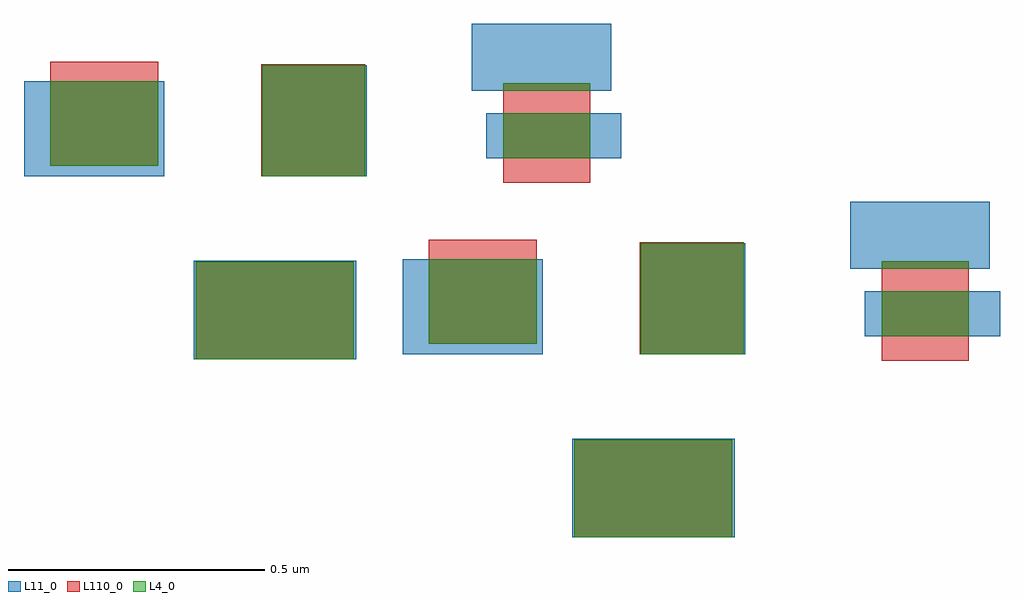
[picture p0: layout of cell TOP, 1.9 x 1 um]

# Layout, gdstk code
import gdstk
lib = gdstk.Library(unit=1e-6, precision=1e-09)
def R(c, l, rs):  # rectangles x0, y0, x1, y1
    for r in rs: c.add(gdstk.rectangle(r[:2], r[2:], *l))
L4_0 = (4, 0)
L11_0 = (11, 0)
L110_0 = (110, 0)

top = lib.new_cell('TOP')
R(top, L4_0, [(0.118,-0.116,0.426,0.074), (-0.62,0.231,-0.312,0.421), (0.248,0.241,0.448,0.457), (-0.166,0.261,0.045,0.426), (0.717,0.276,0.887,0.364), (0.717,0.407,0.887,0.422), (-0.49,0.588,-0.29,0.804), (-0.904,0.608,-0.693,0.773), (-0.021,0.623,0.149,0.711), (-0.021,0.754,0.149,0.769)])
R(top, L11_0, [(0.114,-0.116,0.431,0.076), (-0.624,0.231,-0.307,0.423), (-0.217,0.241,0.056,0.426), (0.248,0.241,0.451,0.457), (0.684,0.276,0.948,0.364), (0.656,0.407,0.928,0.538), (-0.955,0.588,-0.682,0.773), (-0.49,0.588,-0.287,0.804), (-0.054,0.623,0.21,0.711), (-0.082,0.754,0.19,0.885)])
R(top, L110_0, [(0.118,-0.116,0.426,0.074), (0.717,0.228,0.887,0.422), (-0.62,0.231,-0.312,0.421), (0.246,0.241,0.448,0.459), (-0.166,0.261,0.045,0.464), (-0.021,0.575,0.149,0.769), (-0.492,0.588,-0.29,0.806), (-0.904,0.608,-0.693,0.811)])

lib.write_gds('TOP.gds')
